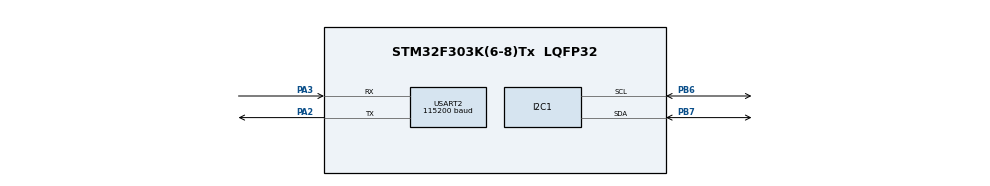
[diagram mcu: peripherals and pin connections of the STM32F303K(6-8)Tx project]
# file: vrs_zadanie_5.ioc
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I2C1.Timing=0x00201D2B
Mcu.Family=STM32F3
Mcu.Name=STM32F303K(6-8)Tx
Mcu.Package=LQFP32
NVIC.PriorityGroup=NVIC_PRIORITYGROUP_4
PA2.Mode=Asynchronous
PA2.Signal=USART2_TX
PA3.Mode=Asynchronous
PA3.Signal=USART2_RX
PB6.Mode=I2C
PB6.Signal=I2C1_SCL
PB7.Mode=I2C
PB7.Signal=I2C1_SDA
ProjectManager.HeapSize=0x200
ProjectManager.StackSize=0x400
ProjectManager.TargetToolchain=STM32CubeIDE
RCC.AHBFreq_Value=8000000
RCC.APB1Freq_Value=8000000
RCC.APB2Freq_Value=8000000
RCC.CortexFreq_Value=8000000
RCC.HSE_VALUE=8000000
RCC.HSI_VALUE=8000000
RCC.SYSCLKFreq_VALUE=8000000
USART2.BaudRate=115200
USART2.VirtualMode-Asynchronous=VM_ASYNC
board=custom

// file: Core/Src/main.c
/* USER CODE BEGIN Header */
/**
  ******************************************************************************
  * @file           : main.c
  * @brief          : Main program body
  ******************************************************************************
  * @attention
  *
  * Copyright (c) 2026 STMicroelectronics.
  * All rights reserved.
  *
  * This software is licensed under terms that can be found in the LICENSE file
  * in the root directory of this software component.
  * If no LICENSE file comes with this software, it is provided AS-IS.
  *
  ******************************************************************************
  */
/* USER CODE END Header */
#include "main.h"
#include "i2c.h"
#include "usart.h"
#include "gpio.h"

/* USER CODE BEGIN Includes */
// rozhrania vlastnych senzorov a snprintf na prevod cisel na text
#include "lps25hb.h"
#include "hts221.h"
#include <stdio.h>
/* USER CODE END Includes */

/* USER CODE BEGIN PV */
// stav lps25hb: 0 = uspech, 1 = chyba alebo zatial neinicializovany senzor
uint8_t sensor_ok = 1;
// aktualny tlak, pociatocny referencny tlak a vyska oproti pociatocnej polohe
float pressure_hpa = 0;
float start_pressure = 0;
float height_m = 0;

// stav hts221: 0 = uspech, 1 = chyba alebo zatial neinicializovany senzor
uint8_t hts_ok = 1;
// teplota v stupnoch celzia a relativna vlhkost v percentach
float temperature_c = 0;
float humidity_percent = 0;

// miesto pre csv riadok vratane ukoncovacieho znaku textu
char message[80];
/* USER CODE END PV */

void SystemClock_Config(void);

/* USER CODE BEGIN 0 */

// posle text cez usart2; do pc ide cez seriovy prevodnik dosky
void usart_send(char *text)
{
    // nulovy znak oznacuje koniec textu a uz sa neposiela
    while (*text)
    {
        // cakanie na volne miesto vo vysielacom registri
        while (!LL_USART_IsActiveFlag_TXE(USART2));

        // odoslanie aktualneho znaku a posun ukazovatela na dalsi znak
        LL_USART_TransmitData8(USART2, *text++);
    }

    // cakanie na uplne odvysielanie posledneho znaku
    while (!LL_USART_IsActiveFlag_TC(USART2));
}

/* USER CODE END 0 */

int main(void)
{

  /* MCU Configuration--------------------------------------------------------*/

  /* Reset of all peripherals, Initializes the Flash interface and the Systick. */
  LL_APB2_GRP1_EnableClock(LL_APB2_GRP1_PERIPH_SYSCFG);
  LL_APB1_GRP1_EnableClock(LL_APB1_GRP1_PERIPH_PWR);

  /* System interrupt init*/
  NVIC_SetPriorityGrouping(NVIC_PRIORITYGROUP_4);

  /* SysTick_IRQn interrupt configuration */
  NVIC_SetPriority(SysTick_IRQn, NVIC_EncodePriority(NVIC_GetPriorityGrouping(),15, 0));

  /* Configure the system clock */
  SystemClock_Config();

  /* Initialize all configured peripherals */
  MX_GPIO_Init();
  MX_I2C1_Init();
  MX_USART2_UART_Init();
  /* USER CODE BEGIN 2 */
  // inicializacia oboch senzorov a odovzdanie i2c funkcii ako callbackov
  sensor_ok = lps25hb_init(i2c_read, i2c_write);
  hts_ok = hts221_init(i2c_read, i2c_write);

  if (sensor_ok == 0)
  {
      // pri merani 1 hz nechame senzoru cas vytvorit prvy vysledok
      LL_mDelay(1200);
      // & odovzda adresu premennej, do ktorej sa ulozi tlak pre vyskovu nulu
      sensor_ok = lps25hb_read_pressure(&start_pressure);
  }

  /* USER CODE END 2 */

  /* Infinite loop */
  while (1)
  {

    /* USER CODE BEGIN 3 */

    if (sensor_ok == 0)
    {
      // tlak sa ulozi cez ukazovatel, navratova hodnota oznamuje stav citania
      // po chybe sa dalsie citanie uz neskusa, automaticka obnova tu nie je
      sensor_ok = lps25hb_read_pressure(&pressure_hpa);

      if (sensor_ok == 0)
      {
        // vypocet vysky oproti pociatocnemu tlaku iba po uspesnom citani
        height_m = lps25hb_relative_height(
            pressure_hpa, start_pressure);
      }
    }

    // samostatne nacitanie teploty a vlhkosti, ak senzor doteraz nezlyhal
    if (hts_ok == 0)
    {
        // pri chybe teploty sa vdaka || uz citanie vlhkosti nevykona
        if (hts221_read_temperature(&temperature_c) != 0 ||
            hts221_read_humidity(&humidity_percent) != 0)
        {
            // chyba zastavi dalsie citanie tohto senzora
            hts_ok = 1;
        }
    }

    // pockame priblizne sekundu; hodnoty sa odoslu az po tomto cakani
    LL_mDelay(1000);

    // riadok posleme iba vtedy, ked su oba senzory bez chyby
    if (sensor_ok == 0 && hts_ok == 0)
    {
      // csv: teplota na 1 miesto, vlhkost bez desatin, tlak a vyska na 2 miesta
      // sizeof obmedzi velkost textu; \r\n ukonci riadok, snprintf ho este neodosiela
      snprintf(message, sizeof(message),
               "%.1f,%.0f,%.2f,%.2f\r\n",
               temperature_c,
               humidity_percent,
               pressure_hpa,
               height_m);

      // hotovy textovy riadok odosleme cez seriovu linku do pc
      usart_send(message);
    }
  }
  /* USER CODE END 3 */
}

void SystemClock_Config(void)
{
  LL_FLASH_SetLatency(LL_FLASH_LATENCY_0);
  while(LL_FLASH_GetLatency()!= LL_FLASH_LATENCY_0)
  {
  }
  LL_RCC_HSI_Enable();

   /* Wait till HSI is ready */
  while(LL_RCC_HSI_IsReady() != 1)
  {

  }
  LL_RCC_HSI_SetCalibTrimming(16);
  LL_RCC_SetAHBPrescaler(LL_RCC_SYSCLK_DIV_1);
  LL_RCC_SetAPB1Prescaler(LL_RCC_APB1_DIV_1);
  LL_RCC_SetAPB2Prescaler(LL_RCC_APB2_DIV_1);
  LL_RCC_SetSysClkSource(LL_RCC_SYS_CLKSOURCE_HSI);

   /* Wait till System clock is ready */
  while(LL_RCC_GetSysClkSource() != LL_RCC_SYS_CLKSOURCE_STATUS_HSI)
  {

  }
  LL_Init1msTick(8000000);
  LL_SetSystemCoreClock(8000000);
  LL_RCC_SetI2CClockSource(LL_RCC_I2C1_CLKSOURCE_HSI);
}

void Error_Handler(void)
{
  __disable_irq();
  while (1)
  {
  }
}
